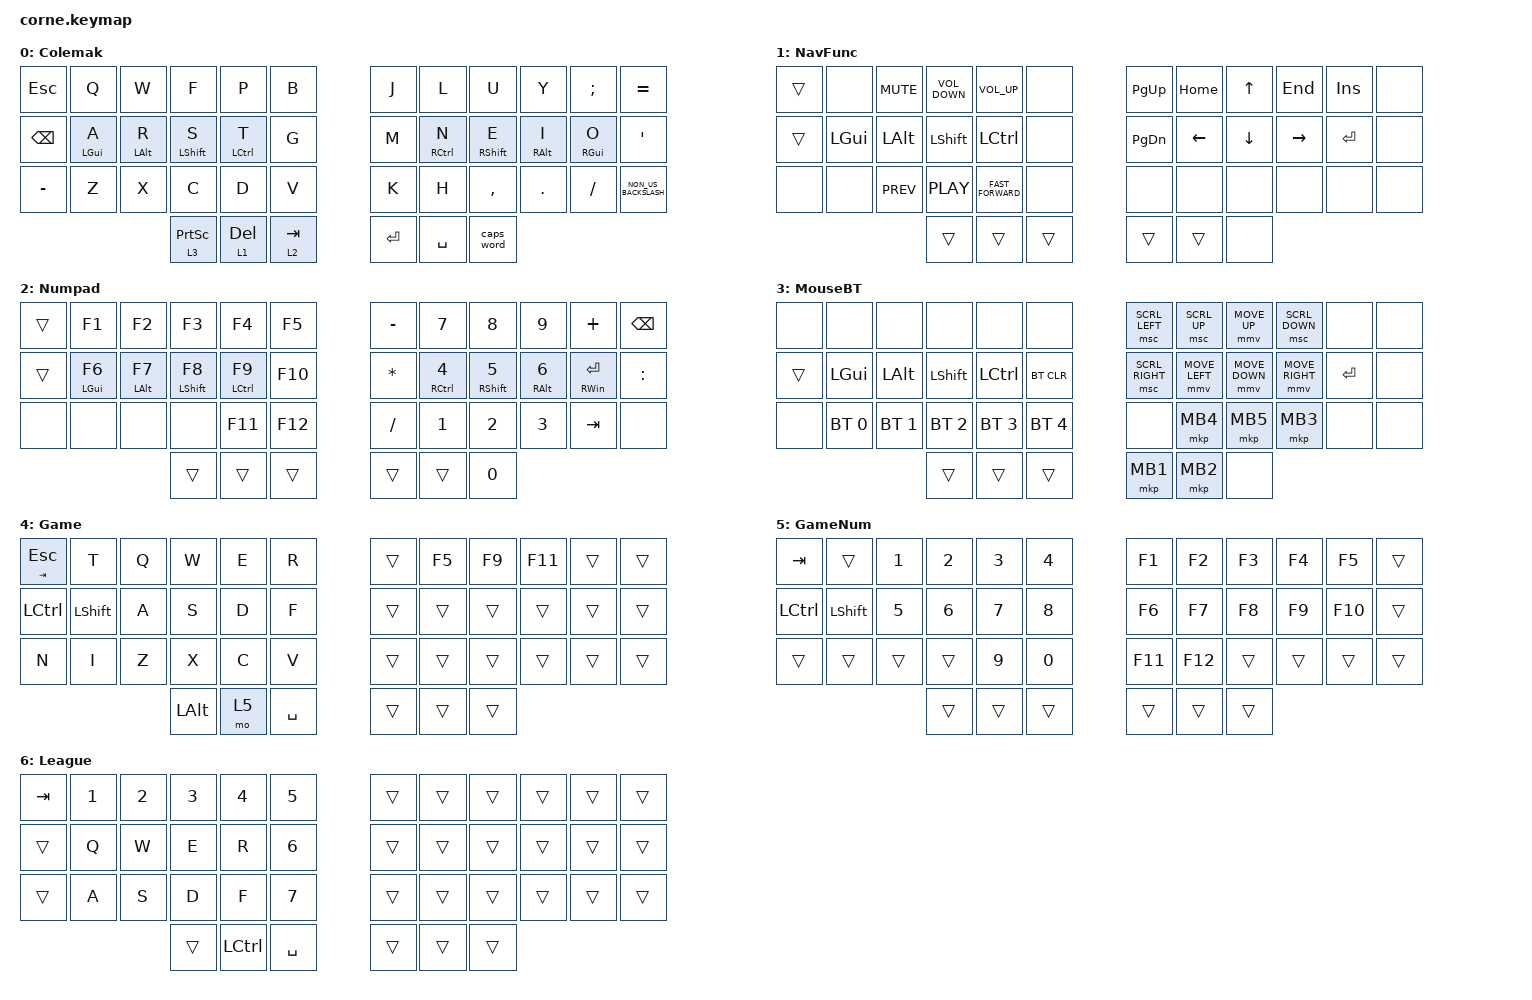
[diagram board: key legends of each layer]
/*
 * Copyright (c) 2020 The ZMK Contributors
 *
 * SPDX-License-Identifier: MIT
 */

#define ZMK_POINTING_DEFAULT_MOVE_VAL 1300
#define ZMK_POINTING_DEFAULT_SCRL_VAL 18

#include <behaviors.dtsi>
#include <dt-bindings/zmk/bt.h>
#include <dt-bindings/zmk/keys.h>
#include <dt-bindings/zmk/pointing.h>

&mt { flavor = "balanced"; };

&caps_word {
    mods = <(MOD_LSFT)>;
    continue-list = <UNDERSCORE BACKSPACE DELETE MINUS>;
};

/ {
    combos {
        compatible = "zmk,combos";

        esclamation {
            bindings = <&kp EXCLAMATION>;
            key-positions = <1 13>;
            layers = <0>;
        };

        at {
            bindings = <&kp AT_SIGN>;
            key-positions = <2 14>;
            layers = <0>;
        };

        hash {
            bindings = <&kp HASH>;
            key-positions = <3 15>;
            layers = <0>;
        };

        dollar {
            bindings = <&kp DOLLAR>;
            key-positions = <4 16>;
            layers = <0>;
        };

        percent {
            bindings = <&kp PERCENT>;
            key-positions = <5 17>;
        };

        caret {
            bindings = <&kp CARET>;
            key-positions = <6 18>;
            layers = <0>;
        };

        ampersand {
            bindings = <&kp AMPERSAND>;
            key-positions = <7 19>;
            layers = <0>;
        };

        asterisk {
            bindings = <&kp ASTERISK>;
            key-positions = <8 20>;
            layers = <0>;
        };

        left-parentheses {
            bindings = <&kp LEFT_PARENTHESIS>;
            key-positions = <9 21>;
            layers = <0>;
        };

        right-parentheses {
            bindings = <&kp RIGHT_PARENTHESIS>;
            key-positions = <10 22>;
            layers = <0>;
        };

        left-braket {
            bindings = <&kp LEFT_BRACKET>;
            key-positions = <15 27>;
            layers = <0>;
        };

        right-bracket {
            bindings = <&kp RIGHT_BRACKET>;
            key-positions = <16 28>;
            layers = <0>;
        };

        left-brace {
            bindings = <&kp LEFT_BRACE>;
            key-positions = <19 31>;
            layers = <0>;
        };

        right-brace {
            bindings = <&kp RIGHT_BRACE>;
            key-positions = <20 32>;
            layers = <0>;
        };

        grave {
            bindings = <&kp GRAVE>;
            key-positions = <17 29>;
            layers = <0>;
        };

        tilde {
            bindings = <&kp TILDE>;
            key-positions = <18 30>;
            layers = <0>;
        };

        enter {
            bindings = <&kp ENTER>;
            key-positions = <37 29>;
        };

        prmc {
            bindings = <&prmc>;
            key-positions = <31 32>;
            layers = <0>;
        };

        bkmc {
            bindings = <&bkmc>;
            key-positions = <32 33>;
            layers = <0>;
        };

        bcmc {
            bindings = <&bcmc>;
            key-positions = <33 34>;
            layers = <0>;
        };

        copy {
            bindings = <&kp LC(C)>;
            key-positions = <26 27>;
            layers = <0>;
        };

        paste {
            bindings = <&kp LC(V)>;
            key-positions = <27 28>;
            layers = <0>;
        };

        new-tab {
            bindings = <&kp LC(T)>;
            key-positions = <16 17>;
            layers = <0>;
        };

        open-tab {
            bindings = <&kp LC(LS(T))>;
            key-positions = <17 16 15>;
        };

        numpad-period {
            bindings = <&kp PERIOD>;
            key-positions = <31 32>;
            layers = <2>;
        };

        numpad-comma {
            bindings = <&kp COMMA>;
            key-positions = <33 32>;
        };

        game_B {
            bindings = <&kp B>;
            key-positions = <17 29>;
            layers = <4 6>;
        };

        game_G {
            bindings = <&kp G>;
            key-positions = <5 17>;
            layers = <4>;
        };

        ToGame {
            bindings = <&to 4>;
            key-positions = <38 39>;
            layers = <0>;
        };

        ToLeague {
            bindings = <&to 6>;
            key-positions = <38 40>;
            layers = <0>;
        };

        FromGame {
            bindings = <&to 0>;
            key-positions = <38 39>;
            layers = <4>;
        };

        FromLeague {
            bindings = <&to 0>;
            key-positions = <38 40>;
            layers = <6>;
        };
    };

    macros {
        prmc: parentheses {
            compatible = "zmk,behavior-macro";
            #binding-cells = <0>;
            bindings = <&kp LEFT_PARENTHESIS &kp RIGHT_PARENTHESIS &kp LEFT>;
            label = "PARENTHESES";
        };

        bkmc: pbk {
            compatible = "zmk,behavior-macro";
            #binding-cells = <0>;
            bindings = <&kp LEFT_BRACKET &kp RIGHT_BRACKET &kp LEFT>;
            label = "PBK";
        };

        bcmc: bcmc {
            compatible = "zmk,behavior-macro";
            #binding-cells = <0>;
            bindings = <&kp LEFT_BRACE &kp RIGHT_BRACE &kp LEFT>;
            label = "BCMC";
        };
    };

    keymap {
        compatible = "zmk,keymap";

        Colemak {
            // -----------------------------------------------------------------------------------------
            // |  TAB |  Q  |  W  |  E  |  R  |  T  |   |  Y  |  U   |  I  |  O  |  P  | BKSP |
            // | CTRL |  A  |  S  |  D  |  F  |  G  |   |  H  |  J   |  K  |  L  |  ;  |  '   |
            // | SHFT |  Z  |  X  |  C  |  V  |  B  |   |  N  |  M   |  ,  |  .  |  /  | ESC  |
            //                    | GUI | LWR | SPC |   | ENT | RSE  | ALT |

            display-name = "Colemak";
            bindings = <
&kp ESCAPE     &kp Q           &kp W           &kp F              &kp P         &kp B        &kp J      &kp L        &kp U              &kp Y            &kp SEMICOLON    &kp EQUAL
&kp BACKSPACE  &mt LEFT_GUI A  &mt LEFT_ALT R  &mt LEFT_SHIFT S   &mt LCTRL T   &kp G        &kp M      &mt RCTRL N  &mt RIGHT_SHIFT E  &mt RIGHT_ALT I  &mt RIGHT_GUI O  &kp SQT
&kp MINUS      &kp Z           &kp X           &kp C              &kp D         &kp V        &kp K      &kp H        &kp COMMA          &kp DOT          &kp FSLH         &kp NON_US_BACKSLASH
                                               &lt 3 PRINTSCREEN  &lt 1 DELETE  &lt 2 TAB    &kp ENTER  &kp SPACE    &caps_word
            >;

            label = "Colemak";
        };

        NavFunc {
            // -----------------------------------------------------------------------------------------
            // |  TAB |  1  |  2  |  3  |  4  |  5  |   |  6  |  7  |  8  |  9  |  0  | BKSP |
            // | BTCLR| BT1 | BT2 | BT3 | BT4 | BT5 |   | LFT | DWN |  UP | RGT |     |      |
            // | SHFT |     |     |     |     |     |   |     |     |     |     |     |      |
            //                    | GUI |     | SPC |   | ENT |     | ALT |

            display-name = "NavFunc";
            bindings = <
&trans  &none         &kp C_MUTE    &kp C_VOLUME_DOWN  &kp C_VOLUME_UP     &none     &kp PAGE_UP    &kp HOME  &kp UP_ARROW  &kp END    &kp INSERT  &none
&trans  &kp LEFT_GUI  &kp LEFT_ALT  &kp LEFT_SHIFT     &kp LCTRL           &none     &kp PAGE_DOWN  &kp LEFT  &kp DOWN      &kp RIGHT  &kp ENTER   &none
&none   &none         &kp C_PREV    &kp C_PLAY         &kp C_FAST_FORWARD  &none     &none          &none     &none         &none      &none       &none
                                    &trans             &trans              &trans    &trans         &trans    &none
            >;

            label = "NavFunc";
        };

        Numpad {
            // -----------------------------------------------------------------------------------------
            // |  TAB |  !  |  @  |  #  |  $  |  %  |   |  ^  |  &  |  *  |  (  |  )  | BKSP |
            // | CTRL |     |     |     |     |     |   |  -  |  =  |  [  |  ]  |  \  |  `   |
            // | SHFT |     |     |     |     |     |   |  _  |  +  |  {  |  }  | "|" |  ~   |
            //                    | GUI |     | SPC |   | ENT |     | ALT |

            display-name = "Numpad";
            bindings = <
&trans  &kp F1           &kp F2           &kp F3             &kp F4        &kp F5     &kp MINUS  &kp NUMBER_7        &kp NUMBER_8        &kp NUMBER_9            &kp PLUS             &kp BSPC
&trans  &mt LEFT_GUI F6  &mt LEFT_ALT F7  &mt LEFT_SHIFT F8  &mt LCTRL F9  &kp F10    &kp ASTRK  &mt RCTRL NUMBER_4  &mt RIGHT_SHIFT N5  &mt RIGHT_ALT NUMBER_6  &mt RIGHT_WIN ENTER  &kp COLON
&none   &none            &none            &none              &kp F11       &kp F12    &kp SLASH  &kp NUMBER_1        &kp NUMBER_2        &kp NUMBER_3            &kp TAB              &none
                                          &trans             &trans        &trans     &trans     &trans              &kp NUMBER_0
            >;

            label = "Numpad";
        };

        MouseBT {
            display-name = "MouseBT";
            bindings = <
&none   &none         &none         &none           &none         &none           &msc SCRL_LEFT   &msc SCRL_UP    &mmv MOVE_UP    &msc SCRL_DOWN   &none      &none
&trans  &kp LEFT_GUI  &kp LEFT_ALT  &kp LEFT_SHIFT  &kp LCTRL     &bt BT_CLR      &msc SCRL_RIGHT  &mmv MOVE_LEFT  &mmv MOVE_DOWN  &mmv MOVE_RIGHT  &kp ENTER  &none
&none   &bt BT_SEL 0  &bt BT_SEL 1  &bt BT_SEL 2    &bt BT_SEL 3  &bt BT_SEL 4    &none            &mkp MB4        &mkp MB5        &mkp MB3         &none      &none
                                    &trans          &trans        &trans          &mkp MB1         &mkp MB2        &none
            >;

            label = "MouseBT";
        };

        Game {
            bindings = <
&mt TAB ESCAPE  &kp T      &kp Q  &kp W         &kp E  &kp R        &trans  &kp F5  &kp F9  &kp F11  &trans  &trans
&kp LCTRL       &kp LSHFT  &kp A  &kp S         &kp D  &kp F        &trans  &trans  &trans  &trans   &trans  &trans
&kp N           &kp I      &kp Z  &kp X         &kp C  &kp V        &trans  &trans  &trans  &trans   &trans  &trans
                                  &kp LEFT_ALT  &mo 5  &kp SPACE    &trans  &trans  &trans
            >;
        };

        GameNum {
            bindings = <
&kp TAB    &trans     &kp NUMBER_1  &kp N2  &kp N3  &kp N4    &kp F1   &kp F2   &kp F3  &kp F4  &kp F5   &trans
&kp LCTRL  &kp LSHFT  &kp N5        &kp N6  &kp N7  &kp N8    &kp F6   &kp F7   &kp F8  &kp F9  &kp F10  &trans
&trans     &trans     &trans        &trans  &kp N9  &kp N0    &kp F11  &kp F12  &trans  &trans  &trans   &trans
                                    &trans  &trans  &trans    &trans   &trans   &trans
            >;
        };

        League {
            bindings = <
&kp TAB  &kp N1  &kp N2  &kp N3  &kp N4     &kp N5       &trans  &trans  &trans  &trans  &trans  &trans
&trans   &kp Q   &kp W   &kp E   &kp R      &kp N6       &trans  &trans  &trans  &trans  &trans  &trans
&trans   &kp A   &kp S   &kp D   &kp F      &kp N7       &trans  &trans  &trans  &trans  &trans  &trans
                         &trans  &kp LCTRL  &kp SPACE    &trans  &trans  &trans
            >;
        };
    };
};
